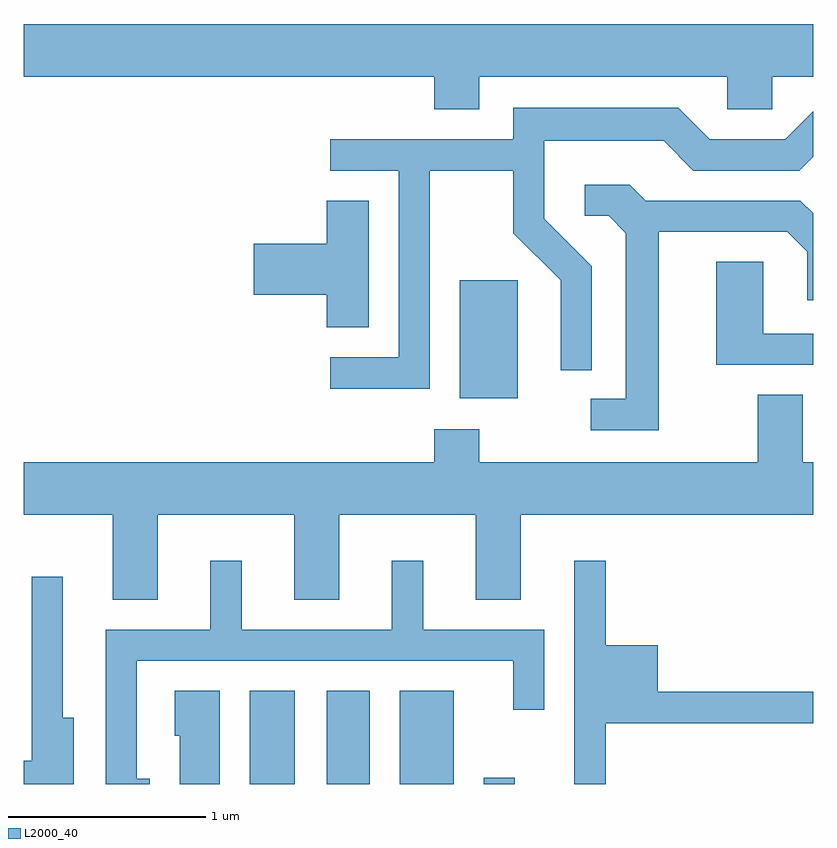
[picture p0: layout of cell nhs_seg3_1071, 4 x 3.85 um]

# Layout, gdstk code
import gdstk
lib = gdstk.Library(unit=1e-6, precision=1e-09)
def R(c, l, rs):  # rectangles x0, y0, x1, y1
    for r in rs: c.add(gdstk.rectangle(r[:2], r[2:], *l))
def P(c, l, *ps):  # polygons
    for p in ps: c.add(gdstk.Polygon(p, *l))
L2000_40 = (2000, 40)

nhs_seg3_1071 = lib.new_cell('nhs_seg3_1071')
R(nhs_seg3_1071, L2000_40, [(216.756,1217.892,216.984,1218.364), (217.146,1217.892,217.364,1218.364), (217.516,1217.892,217.789,1218.364), (217.941,1217.892,218.099,1217.923), (217.821,1219.846,218.114,1220.444)])
P(nhs_seg3_1071, L2000_40, [(217.919,1221.476),(219.176,1221.476),(219.176,1221.311),(219.404,1221.311),(219.404,1221.476),(219.611,1221.476),(219.611,1221.744),(215.611,1221.744),(215.611,1221.476),(217.691,1221.476),(217.691,1221.311),(217.919,1221.311)],
  [(217.669,1221.001),(218.091,1221.001),(218.091,1220.684),(218.331,1220.444),(218.331,1219.988),(218.489,1219.988),(218.489,1220.517),(218.249,1220.757),(218.249,1221.151),(218.854,1221.151),(219.004,1221.001),(219.542,1221.001),(219.611,1221.07),(219.611,1221.301),(219.469,1221.159),(219.087,1221.159),(218.927,1221.319),(218.091,1221.319),(218.091,1221.159),(217.163,1221.159),(217.163,1221.001),(217.511,1221.001),(217.511,1220.054),(217.163,1220.054),(217.163,1219.896),(217.669,1219.896)],
  [(218.829,1220.691),(219.479,1220.691),(219.581,1220.589),(219.581,1220.343),(219.611,1220.343),(219.611,1220.785),(219.547,1220.849),(218.762,1220.849),(218.682,1220.929),(218.453,1220.929),(218.453,1220.771),(218.574,1220.771),(218.661,1220.684),(218.661,1219.844),(218.483,1219.844),(218.483,1219.686),(218.829,1219.686)],
  [(217.359,1220.849),(217.146,1220.849),(217.146,1220.629),(216.776,1220.629),(216.776,1220.371),(217.146,1220.371),(217.146,1220.206),(217.359,1220.206)],
  [(219.611,1220.174),(219.359,1220.174),(219.359,1220.539),(219.121,1220.539),(219.121,1220.016),(219.611,1220.016)],
  [(216.289,1219.256),(216.981,1219.256),(216.981,1218.826),(217.209,1218.826),(217.209,1219.256),(217.901,1219.256),(217.901,1218.826),(218.129,1218.826),(218.129,1219.256),(219.611,1219.256),(219.611,1219.524),(219.559,1219.524),(219.559,1219.864),(219.331,1219.864),(219.331,1219.524),(217.919,1219.524),(217.919,1219.689),(217.691,1219.689),(217.691,1219.524),(215.611,1219.524),(215.611,1219.256),(216.061,1219.256),(216.061,1218.826),(216.289,1218.826)],
  [(218.559,1218.201),(219.611,1218.201),(219.611,1218.359),(218.824,1218.359),(218.824,1218.594),(218.559,1218.594),(218.559,1219.023),(218.401,1219.023),(218.401,1217.892),(218.559,1217.892)],
  [(216.249,1217.919),(216.184,1217.919),(216.184,1218.516),(218.091,1218.516),(218.091,1218.268),(218.249,1218.268),(218.249,1218.674),(217.634,1218.674),(217.634,1219.023),(217.476,1219.023),(217.476,1218.674),(216.714,1218.674),(216.714,1219.023),(216.556,1219.023),(216.556,1218.674),(216.026,1218.674),(216.026,1217.892),(216.249,1217.892)],
  [(215.864,1218.229),(215.809,1218.229),(215.809,1218.943),(215.651,1218.943),(215.651,1218.009),(215.611,1218.009),(215.611,1217.892),(215.864,1217.892)],
  [(216.604,1218.364),(216.376,1218.364),(216.376,1218.136),(216.401,1218.136),(216.401,1217.892),(216.604,1217.892)])

lib.write_gds('nhs_seg3_1071.gds')
